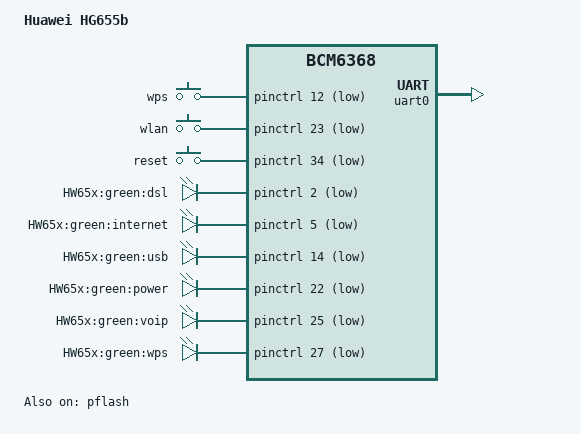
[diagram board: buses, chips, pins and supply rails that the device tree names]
/dts-v1/;

#include "bcm6368.dtsi"

#include <dt-bindings/input/input.h>

/ {
	model = "Huawei HG655b";
	compatible = "huawei,hg655b", "brcm,bcm6368";

	chosen {
		bootargs = "root=/dev/mtdblock2 rootfstype=squashfs,jffs2 noinitrd console=ttyS0,115200";
		stdout-path = "serial0:115200n8";
	};

	gpio-keys-polled {
		compatible = "gpio-keys-polled";
		#address-cells = <1>;
		#size-cells = <0>;
		poll-interval = <20>;
		debounce-interval = <60>;

		wps {
			label = "wps";
			gpios = <&pinctrl 12 1>;
			linux,code = <KEY_WPS_BUTTON>;
		};
		wlan {
			label = "wlan";
			gpios = <&pinctrl 23 1>;
			linux,code = <KEY_WLAN>;
		};
		reset {
			label = "reset";
			gpios = <&pinctrl 34 1>;
			linux,code = <KEY_RESTART>;
		};
	};

	gpio-leds {
		compatible = "gpio-leds";

		dsl_green {
			label = "HW65x:green:dsl";
			gpios = <&pinctrl 2 1>;
		};
		internet_green {
			label = "HW65x:green:internet";
			gpios = <&pinctrl 5 1>;
		};

		usb_green {
			label = "HW65x:green:usb";
			gpios = <&pinctrl 14 1>;
		};
		power_green {
			label = "HW65x:green:power";
			gpios = <&pinctrl 22 1>;
			default-state = "on";
		};
		voip_green {
			label = "HW65x:green:voip";
			gpios = <&pinctrl 25 1>;
		};
		wps_green {
			label = "HW65x:green:wps";
			gpios = <&pinctrl 27 1>;
		};
	};
};

&pflash {
	status = "ok";

	linux,part-probe = "bcm63xxpart";

	cfe@0 {
		label = "CFE";
		reg = <0x000000 0x020000>;
	};

	linux@20000 {
		label = "linux";
		reg = <0x020000 0x770000>;
	};

	board_data@790000 {
		label = "board_data";
		reg = <0x790000 0x030000>;
	};

	cal_data@7c0000 {
		label = "cal_data";
		reg = <0x7c0000 0x020000>;
		read-only;
	};

	nvram@7d0000 {
		label = "nvram";
		reg = <0x7e0000 0x020000>;
	};
};

&pinctrl {
	pinctrl-names = "default";
	pinctrl-0 = <&pinctrl_pci &pinctrl_ephy0_led &pinctrl_ephy1_led
		     &pinctrl_ephy2_led &pinctrl_ephy3_led>;
};

&uart0 {
	status = "ok";
};
